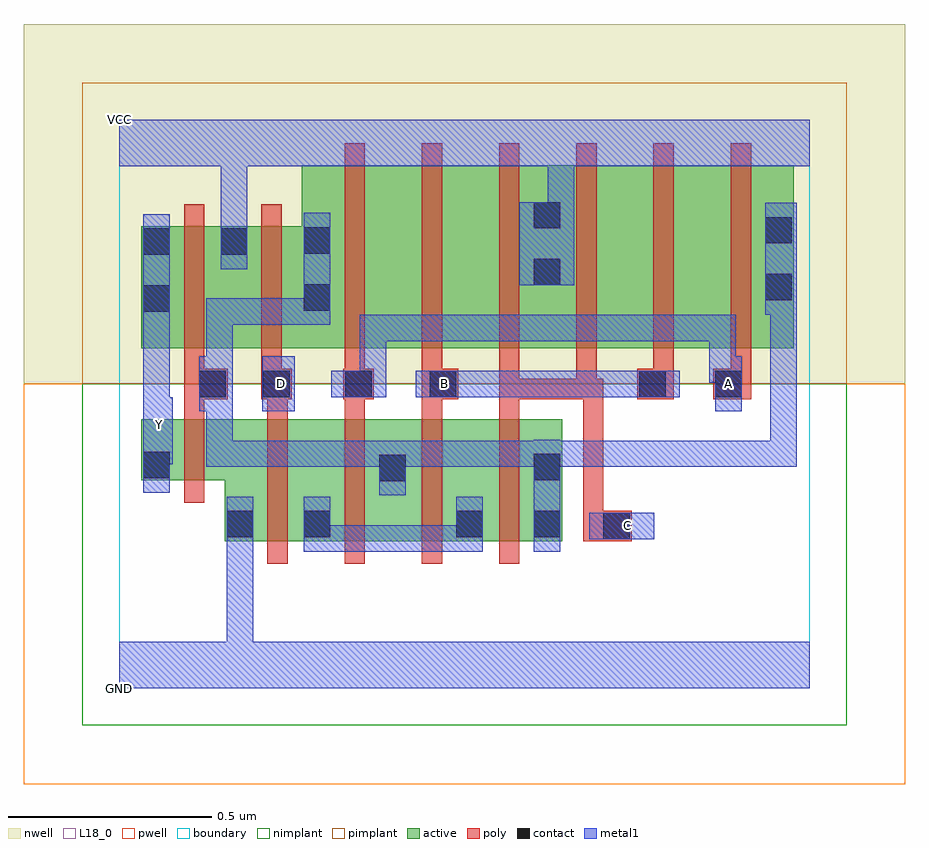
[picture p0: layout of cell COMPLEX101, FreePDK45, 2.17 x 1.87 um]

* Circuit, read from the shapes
.subckt COMPLEX101 A B C D GND VCC Y
M1 GND n1 Y VSUBS nfet w=0.15u l=0.05u
M2 n2 D GND VSUBS nfet w=0.3u l=0.05u
M3 n1 A n2 VSUBS nfet w=0.3u l=0.05u
M4 n2 B n1 VSUBS nfet w=0.3u l=0.05u
M5 n1 C n2 VSUBS nfet w=0.3u l=0.05u
M6 VCC n1 Y n3 pfet w=0.3u l=0.05u
M7 n1 D VCC n3 pfet w=0.3u l=0.05u
M8 n4 A n1 n3 pfet w=0.45u l=0.05u
M9 n5 B n4 n3 pfet w=0.45u l=0.05u
M10 VCC C n5 n3 pfet w=0.45u l=0.05u
M11 n6 C VCC n3 pfet w=0.45u l=0.05u
M12 n7 B n6 n3 pfet w=0.45u l=0.05u
M13 n1 A n7 n3 pfet w=0.45u l=0.05u
.ends

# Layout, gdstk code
import gdstk
lib = gdstk.Library(unit=1e-6, precision=1e-09)
def R(c, l, rs):  # rectangles x0, y0, x1, y1
    for r in rs: c.add(gdstk.rectangle(r[:2], r[2:], *l))
def A(c, l, x, y, w, h, nx, ny, dx, dy):  # array of equal rectangles
    R(c, l, [(x+i*dx, y+j*dy, x+i*dx+w, y+j*dy+h) for i in range(nx) for j in range(ny)])
active = (1, 0)
pwell = (2, 0)
nwell = (3, 0)
nimplant = (4, 0)
pimplant = (5, 0)
poly = (9, 0)
contact = (10, 0)
metal1 = (11, 0)
L18_0 = (18, 0)
boundary = (235, 0)

complex101 = lib.new_cell('COMPLEX101')
R(complex101, active, [(0.26,0.362,0.525,0.662), (0.26,0.362,0.335,0.512), (0.45,0.362,0.525,0.547), (0.45,0.362,0.71,0.662), (0.635,0.362,0.9,0.662), (0.635,0.362,0.71,0.58), (0.825,0.362,1.09,0.662), (0.825,0.362,0.9,0.547), (1.015,0.362,1.09,0.662), (0.055,0.512,0.13,0.662), (0.055,0.512,0.335,0.662), (0.055,0.837,0.13,1.137), (0.055,0.837,0.32,1.137), (0.245,0.837,0.32,1.137), (0.245,0.837,0.525,1.137), (0.45,0.837,0.525,1.2), (0.45,0.837,0.675,1.287), (0.675,0.837,0.865,1.287), (0.865,0.837,1.09,1.287), (1.015,0.837,1.245,1.287), (1.015,0.837,1.09,1.287), (1.245,0.837,1.435,1.287), (1.435,0.837,1.66,1.287), (1.585,0.837,1.66,1.2)])
R(complex101, pwell, [(-0.235,-0.235,1.935,0.75)])
R(complex101, nwell, [(-0.235,0.75,1.935,1.635)])
R(complex101, nimplant, [(-0.09,-0.09,1.79,0.75)])
R(complex101, pimplant, [(-0.09,0.75,1.79,1.49)])
A(complex101, poly, 0.365, 0.307, 0.05, 0.41, 4, 1, 0.19, 0)
A(complex101, poly, 0.365, 0.667, 0.05, 0.095, 4, 1, 0.19, 0)
A(complex101, poly, 0.555, 0.782, 0.05, 0.56, 6, 1, 0.19, 0)
R(complex101, poly, [(1.142,0.362,1.262,0.437), (1.142,0.387,1.192,0.762), (0.16,0.457,0.21,0.717), (0.16,0.667,0.21,0.762), (0.16,0.712,0.267,0.787), (0.35,0.712,0.425,0.787), (0.552,0.712,0.627,0.787), (0.745,0.712,0.835,0.787), (0.935,0.712,0.985,0.832), (0.935,0.712,0.985,0.762), (0.935,0.712,0.985,0.762), (0.935,0.712,0.985,0.762), (0.935,0.712,1.175,0.762), (1.125,0.712,1.175,0.832), (1.125,0.712,1.175,0.762), (1.125,0.712,1.175,0.762), (1.125,0.712,1.192,0.762), (1.275,0.712,1.365,0.787), (1.462,0.712,1.555,0.787), (0.16,0.737,0.21,0.832), (0.35,0.737,0.4,0.832), (0.555,0.737,0.605,0.832), (0.745,0.737,0.795,0.832), (1.315,0.737,1.365,0.832), (1.505,0.737,1.555,0.832), (0.16,0.782,0.21,1.192), (0.35,0.782,0.4,1.192)])
R(complex101, contact, [(1.192,0.367,1.257,0.432), (0.265,0.372,0.33,0.437), (0.455,0.372,0.52,0.437), (0.83,0.372,0.895,0.437), (1.02,0.372,1.085,0.437), (0.64,0.51,0.705,0.575), (1.02,0.512,1.085,0.577), (0.06,0.517,0.125,0.582), (0.197,0.717,0.262,0.782), (0.355,0.717,0.42,0.782), (0.557,0.717,0.622,0.782), (0.765,0.717,0.83,0.782), (1.28,0.717,1.345,0.782), (1.467,0.717,1.532,0.782), (0.06,0.927,0.125,0.992), (0.455,0.93,0.52,0.995), (1.59,0.955,1.655,1.02), (1.02,0.992,1.085,1.057), (0.06,1.067,0.125,1.132), (0.25,1.067,0.315,1.132), (0.455,1.07,0.52,1.135), (1.59,1.095,1.655,1.16), (1.02,1.132,1.085,1.197)])
R(complex101, metal1, [(0,0,1.7,0.115), (0.265,0.05,0.33,0.115), (0.265,0.05,0.33,0.115), (0.265,0.05,0.33,0.115), (0.265,0.05,0.33,0.115), (0.265,0.05,0.33,0.402), (0.265,0.337,0.33,0.472), (0.455,0.337,0.52,0.472), (0.455,0.337,0.657,0.402), (0.592,0.337,0.657,0.402), (0.592,0.337,0.657,0.402), (0.592,0.337,0.657,0.402), (0.592,0.337,0.895,0.402), (0.83,0.337,0.895,0.402), (0.83,0.337,0.895,0.402), (0.83,0.337,0.895,0.472), (1.02,0.337,1.085,0.612), (1.157,0.367,1.317,0.432), (0.64,0.475,0.705,0.61), (0.06,0.482,0.125,0.617), (0.215,0.545,0.28,0.61), (0.215,0.545,0.417,0.61), (0.215,0.545,0.28,0.817), (0.352,0.545,0.417,0.61), (0.352,0.545,0.417,0.61), (0.352,0.545,0.417,0.61), (0.352,0.545,0.625,0.61), (0.56,0.545,0.625,0.61), (0.56,0.545,0.705,0.61), (0.64,0.545,0.845,0.61), (0.78,0.545,0.845,0.61), (0.78,0.545,0.845,0.61), (0.78,0.545,0.845,0.61), (0.78,0.545,1.035,0.61), (0.97,0.545,1.035,0.61), (0.97,0.545,1.085,0.61), (1.02,0.545,1.172,0.61), (1.107,0.545,1.172,0.61), (1.107,0.545,1.38,0.61), (1.315,0.545,1.38,0.61), (1.315,0.545,1.38,0.61), (1.315,0.545,1.38,0.61), (1.315,0.545,1.517,0.61), (1.452,0.545,1.517,0.61), (1.452,0.545,1.667,0.61), (1.602,0.545,1.667,0.985), (1.602,0.545,1.667,0.61), (1.602,0.545,1.667,0.61), (1.602,0.545,1.667,0.61), (1.602,0.545,1.667,0.61), (1.602,0.545,1.667,0.61), (0.06,0.552,0.125,0.617), (0.06,0.552,0.132,0.717), (0.06,0.652,0.125,0.957), (0.197,0.682,0.262,0.817), (0.352,0.682,0.432,0.817), (1.467,0.682,1.532,0.817), (0.522,0.717,0.657,0.782), (0.592,0.717,0.657,0.782), (0.592,0.717,0.657,0.782), (0.592,0.717,0.657,0.92), (0.73,0.717,0.867,0.782), (0.802,0.717,0.867,0.782), (0.802,0.717,0.867,0.782), (0.802,0.717,1.035,0.782), (0.97,0.717,1.035,0.782), (0.97,0.717,1.035,0.782), (0.97,0.717,1.035,0.782), (0.97,0.717,1.172,0.782), (1.107,0.717,1.172,0.782), (1.107,0.717,1.31,0.782), (1.245,0.717,1.31,0.782), (1.245,0.717,1.31,0.782), (1.245,0.717,1.38,0.782), (0.197,0.752,0.28,0.817), (0.215,0.752,0.28,0.817), (0.215,0.752,0.28,0.96), (1.452,0.752,1.517,0.817), (1.452,0.752,1.532,0.817), (1.452,0.752,1.517,0.92), (0.592,0.855,0.657,0.92), (0.592,0.855,0.845,0.92), (0.78,0.855,0.845,0.92), (0.78,0.855,0.845,0.92), (0.78,0.855,0.845,0.92), (0.78,0.855,1.035,0.92), (0.97,0.855,1.035,0.92), (0.97,0.855,1.035,0.92), (0.97,0.855,1.035,0.92), (0.97,0.855,1.172,0.92), (1.107,0.855,1.172,0.92), (1.107,0.855,1.31,0.92), (1.245,0.855,1.31,0.92), (1.245,0.855,1.31,0.92), (1.245,0.855,1.31,0.92), (1.245,0.855,1.517,0.92), (1.452,0.855,1.517,0.92), (0.06,0.892,0.125,1.167), (0.215,0.895,0.28,0.96), (0.215,0.895,0.415,0.96), (0.35,0.895,0.415,0.96), (0.35,0.895,0.52,0.96), (0.455,0.895,0.52,1.17), (1.59,0.92,1.667,1.195), (0.985,0.992,1.12,1.197), (0.25,1.032,0.315,1.167), (0.25,1.102,0.315,1.167), (0.25,1.102,0.315,1.167), (0.25,1.102,0.315,1.35), (1.055,1.132,1.12,1.35), (0,1.285,1.7,1.4)])
R(complex101, L18_0, [(0,0,1.7,0.115), (0.265,0.05,0.33,0.115), (0.265,0.05,0.33,0.115), (0.265,0.05,0.33,0.115), (0.265,0.05,0.33,0.115), (0.265,0.05,0.33,0.402), (0.265,0.337,0.33,0.472), (1.157,0.367,1.317,0.432), (1.217,0.367,1.282,0.432), (0.06,0.482,0.125,0.617), (0.06,0.552,0.132,0.717), (0.06,0.552,0.125,0.617), (0.067,0.617,0.132,0.682), (0.06,0.652,0.125,0.957), (0.352,0.682,0.432,0.817), (1.467,0.682,1.532,0.817), (0.367,0.717,0.432,0.782), (0.522,0.717,0.657,0.782), (0.592,0.717,0.657,0.782), (0.592,0.717,0.657,0.782), (0.592,0.717,0.657,0.92), (0.73,0.717,0.867,0.782), (0.767,0.717,0.832,0.782), (0.802,0.717,0.867,0.782), (0.802,0.717,0.867,0.782), (0.802,0.717,1.035,0.782), (0.97,0.717,1.035,0.782), (0.97,0.717,1.035,0.782), (0.97,0.717,1.035,0.782), (0.97,0.717,1.172,0.782), (1.107,0.717,1.172,0.782), (1.107,0.717,1.31,0.782), (1.245,0.717,1.31,0.782), (1.245,0.717,1.31,0.782), (1.245,0.717,1.38,0.782), (1.467,0.717,1.532,0.782), (1.452,0.752,1.517,0.817), (1.452,0.752,1.517,0.92), (1.452,0.752,1.532,0.817), (0.592,0.855,0.657,0.92), (0.592,0.855,0.845,0.92), (0.78,0.855,0.845,0.92), (0.78,0.855,0.845,0.92), (0.78,0.855,0.845,0.92), (0.78,0.855,1.035,0.92), (0.97,0.855,1.035,0.92), (0.97,0.855,1.035,0.92), (0.97,0.855,1.035,0.92), (0.97,0.855,1.172,0.92), (1.107,0.855,1.172,0.92), (1.107,0.855,1.31,0.92), (1.245,0.855,1.31,0.92), (1.245,0.855,1.31,0.92), (1.245,0.855,1.31,0.92), (1.245,0.855,1.517,0.92), (1.452,0.855,1.517,0.92), (0.06,0.892,0.125,1.167), (0.985,0.992,1.12,1.197), (0.25,1.032,0.315,1.167), (0.25,1.102,0.315,1.167), (0.25,1.102,0.315,1.167), (0.25,1.102,0.315,1.35), (1.055,1.132,1.12,1.35), (0,1.285,1.7,1.4)])
R(complex101, boundary, [(0,0,1.7,1.4)])
complex101.add(gdstk.Label('A', (1.5,0.75), layer=11, texttype=0))
complex101.add(gdstk.Label('B', (0.8,0.75), layer=11, texttype=0))
complex101.add(gdstk.Label('C', (1.25,0.4), layer=11, texttype=0))
complex101.add(gdstk.Label('D', (0.4,0.75), layer=11, texttype=0))
complex101.add(gdstk.Label('Y', (0.1,0.65), layer=11, texttype=0))
complex101.add(gdstk.Label('VCC', (0,1.4), layer=11, texttype=0))
complex101.add(gdstk.Label('GND', (0,0), layer=11, texttype=0))

lib.write_gds('COMPLEX101.gds')
